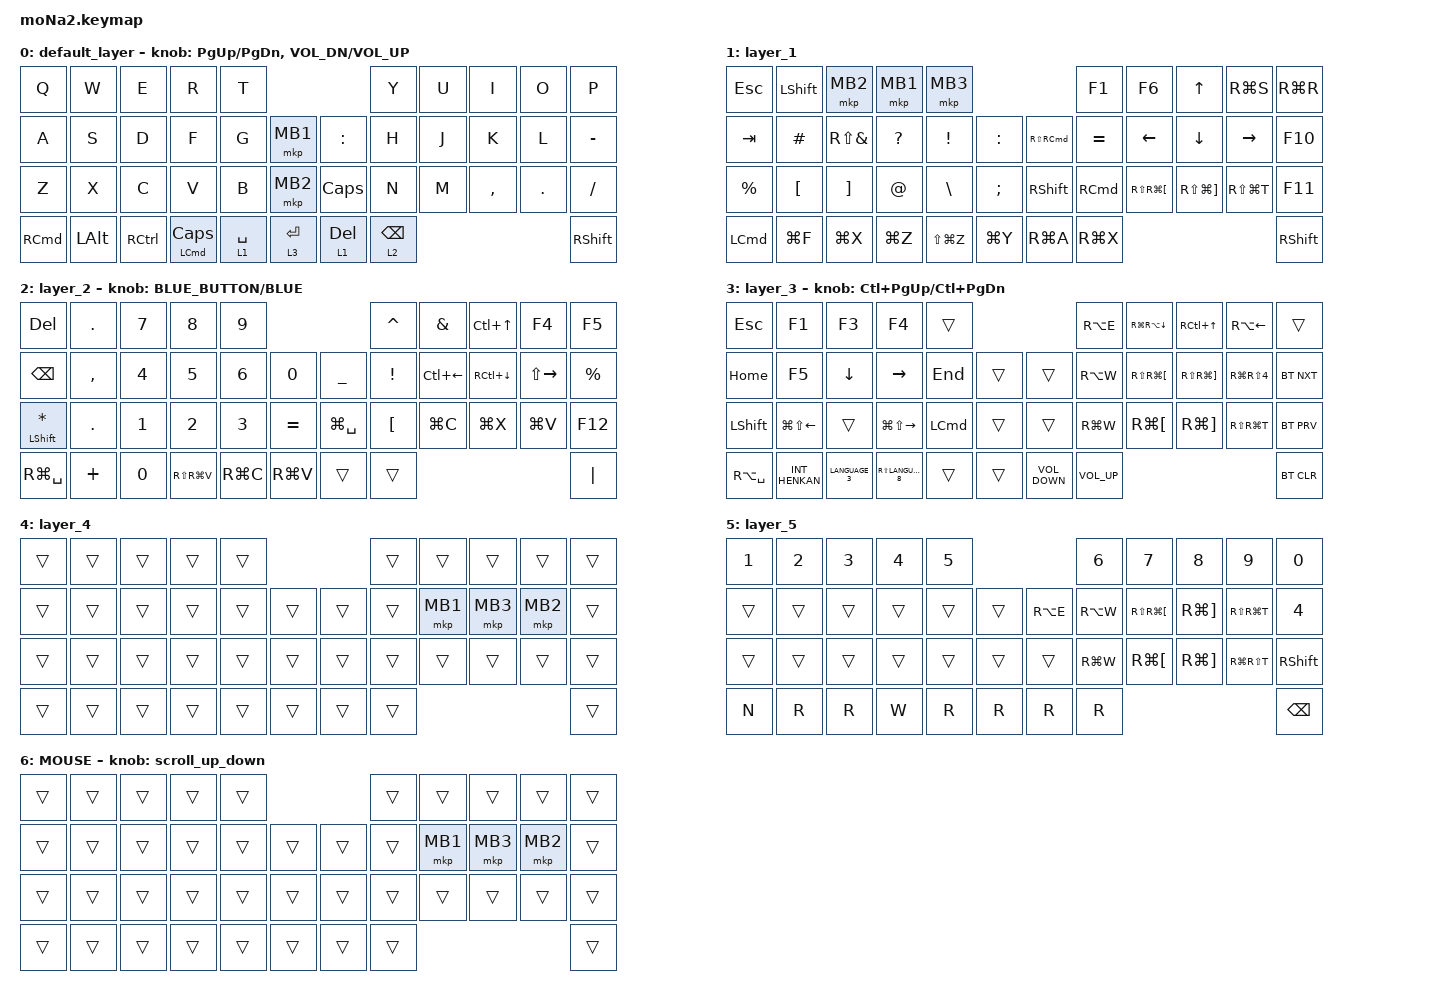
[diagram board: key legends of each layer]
#include <behaviors.dtsi>
#include <dt-bindings/zmk/bt.h>
#include <dt-bindings/zmk/keys.h>
#include <dt-bindings/zmk/pointing.h>

#define ZMK_POINTING_DEFAULT_SCRL_VAL 100
#define MOUSE 6

&mt {
    flavor = "balanced";
    quick-tap-ms = <0>;
};

/ {
    combos { compatible = "zmk,combos"; };

    macros {
        to_layer_0: to_layer_0 {
            compatible = "zmk,behavior-macro-one-param";
            #binding-cells = <1>;
            bindings = <&to 0 &macro_param_1to1 &kp MACRO_PLACEHOLDER>;
            label = "TO_LAYER_0";
        };
    };

    behaviors {
        lt_to_layer_0: lt_to_layer_0 {
            compatible = "zmk,behavior-hold-tap";
            label = "LAYER_TAP_TO_0";
            bindings = <&mo>, <&to_layer_0>;

            #binding-cells = <2>;
            tapping-term-ms = <200>;
        };

        scroll_up_down: behavior_sensor_rotate_mouse_wheel_up_down {
            compatible = "zmk,behavior-sensor-rotate";
            #sensor-binding-cells = <0>;
            bindings = <&msc SCRL_UP>, <&msc SCRL_DOWN>;

            tap-ms = <20>;
        };
    };

    keymap {
        compatible = "zmk,keymap";

        default_layer {
            bindings = <
&kp Q     &kp W         &kp E              &kp R                  &kp T                                                                   &kp Y                       &kp U  &kp I      &kp O    &kp P
&kp A     &kp S         &kp D              &kp F                  &kp G                   &mkp MB1                  &kp COLON             &kp H                       &kp J  &kp K      &kp L    &kp MINUS
&kp Z     &kp X         &kp C              &kp V                  &kp B                   &mkp MB2                  &kp CAPS              &kp N                       &kp M  &kp COMMA  &kp DOT  &kp SLASH
&kp RCMD  &kp LEFT_ALT  &kp RIGHT_CONTROL  &mt LEFT_COMMAND CAPS  &lt_to_layer_0 1 SPACE  &lt_to_layer_0 3 ENTER    &lt_to_layer_0 1 DEL  &lt_to_layer_0 2 BACKSPACE                             &kp RIGHT_SHIFT
            >;

            sensor-bindings =
                <&inc_dec_kp PAGE_UP PAGE_DOWN>,
                <&inc_dec_kp C_VOL_DN C_VOL_UP>;
        };

        layer_1 {
            bindings = <
&kp ESCAPE        &kp LEFT_SHIFT    &mkp MB2           &mkp MB1      &mkp MB3                                       &kp F1     &kp F6                    &kp UP_ARROW               &kp RG(S)        &kp RG(R)
&kp TAB           &kp HASH          &kp RS(AMPERSAND)  &kp QUESTION  &kp EXCLAMATION  &kp COLON    &kp RS(RCMD)     &kp EQUAL  &kp LEFT_ARROW            &kp DOWN_ARROW             &kp RIGHT_ARROW  &kp F10
&kp PERCENT       &kp LEFT_BRACKET  &kp RIGHT_BRACKET  &kp AT        &kp BACKSLASH    &kp SEMI     &kp RIGHT_SHIFT  &kp RCMD   &kp RS(RG(LEFT_BRACKET))  &kp RS(LG(RIGHT_BRACKET))  &kp RS(LG(T))    &kp F11
&kp LEFT_COMMAND  &kp LG(F)         &kp LG(X)          &kp LG(Z)     &kp LS(LG(Z))    &kp LG(Y)    &kp RG(A)        &kp RG(X)                                                                        &kp RIGHT_SHIFT
            >;
        };

        layer_2 {
            bindings = <
&kp DEL               &kp PERIOD  &kp NUMBER_7  &kp NUMBER_8   &kp NUMBER_9                                  &kp CARET         &kp AMPERSAND       &kp LC(UP_ARROW)    &kp F4               &kp F5
&kp BACKSPACE         &kp COMMA   &kp NUMBER_4  &kp NUMBER_5   &kp NUMBER_6  &kp NUMBER_0    &kp UNDERSCORE  &kp EXCLAMATION   &kp LC(LEFT_ARROW)  &kp RC(DOWN_ARROW)  &kp LS(RIGHT_ARROW)  &kp PERCENT
&mt LEFT_SHIFT ASTRK  &kp PERIOD  &kp NUMBER_1  &kp NUMBER_2   &kp NUMBER_3  &kp EQUAL       &kp LG(SPACE)   &kp LEFT_BRACKET  &kp LG(C)           &kp LG(X)           &kp LG(V)            &kp F12
&kp RG(SPACE)         &kp PLUS    &kp NUMBER_0  &kp RS(RG(V))  &kp RG(C)     &kp RG(V)       &trans          &trans                                                                         &kp PIPE
            >;

            sensor-bindings = <&inc_dec_kp C_BLUE_BUTTON C_BLUE>;
        };

        layer_3 {
            bindings = <
&kp ESCAPE      &kp F1                  &kp F3          &kp F4                   &trans                                         &kp RA(E)        &kp RG(RA(DOWN_ARROW))    &kp RC(UP_ARROW)           &kp RA(LEFT_ARROW)    &trans
&kp HOME        &kp F5                  &kp DOWN_ARROW  &kp RIGHT_ARROW          &kp END           &trans    &trans             &kp RA(W)        &kp RS(RG(LEFT_BRACKET))  &kp RS(RG(RIGHT_BRACKET))  &kp RG(RS(NUMBER_4))  &bt BT_NXT
&kp LEFT_SHIFT  &kp LG(LS(LEFT_ARROW))  &trans          &kp LG(LS(RIGHT_ARROW))  &kp LEFT_COMMAND  &trans    &trans             &kp RG(W)        &kp RG(LEFT_BRACKET)      &kp RG(RIGHT_BRACKET)      &kp RS(RG(T))         &bt BT_PRV
&kp RA(SPACE)   &kp INT_HENKAN          &kp LANGUAGE_3  &kp RS(LANGUAGE_8)       &trans            &trans    &kp C_VOLUME_DOWN  &kp C_VOLUME_UP                                                                             &bt BT_CLR
            >;

            sensor-bindings = <&inc_dec_kp LC(PAGE_UP) LC(PAGE_DOWN)>;
        };

        layer_4 {
            bindings = <
&trans  &trans  &trans  &trans  &trans                    &trans  &trans    &trans    &trans    &trans
&trans  &trans  &trans  &trans  &trans  &trans    &trans  &trans  &mkp MB1  &mkp MB3  &mkp MB2  &trans
&trans  &trans  &trans  &trans  &trans  &trans    &trans  &trans  &trans    &trans    &trans    &trans
&trans  &trans  &trans  &trans  &trans  &trans    &trans  &trans                                &trans
            >;
        };

        layer_5 {
            bindings = <
&kp N1  &kp N2  &kp N3  &kp N4  &kp N5                       &kp N6     &kp N7            &kp NUMBER_8  &kp N9         &kp N0
&trans  &trans  &trans  &trans  &trans  &trans    &kp RA(E)  &kp RA(W)  &kp RS(RG(LBKT))  &kp RG(RBKT)  &kp RS(RG(T))  &kp N4
&trans  &trans  &trans  &trans  &trans  &trans    &trans     &kp RG(W)  &kp RG(LBKT)      &kp RG(RBKT)  &kp RG(RS(T))  &kp RIGHT_SHIFT
&kp N   &kp R   &kp R   &kp W   &kp R   &kp R     &kp R      &kp R                                                     &kp BSPC
            >;
        };

        MOUSE {
            bindings = <
&trans  &trans  &trans  &trans  &trans                    &trans  &trans    &trans    &trans    &trans
&trans  &trans  &trans  &trans  &trans  &trans    &trans  &trans  &mkp MB1  &mkp MB3  &mkp MB2  &trans
&trans  &trans  &trans  &trans  &trans  &trans    &trans  &trans  &trans    &trans    &trans    &trans
&trans  &trans  &trans  &trans  &trans  &trans    &trans  &trans                                &trans
            >;

            sensor-bindings = <&scroll_up_down>;
        };
    };
};
